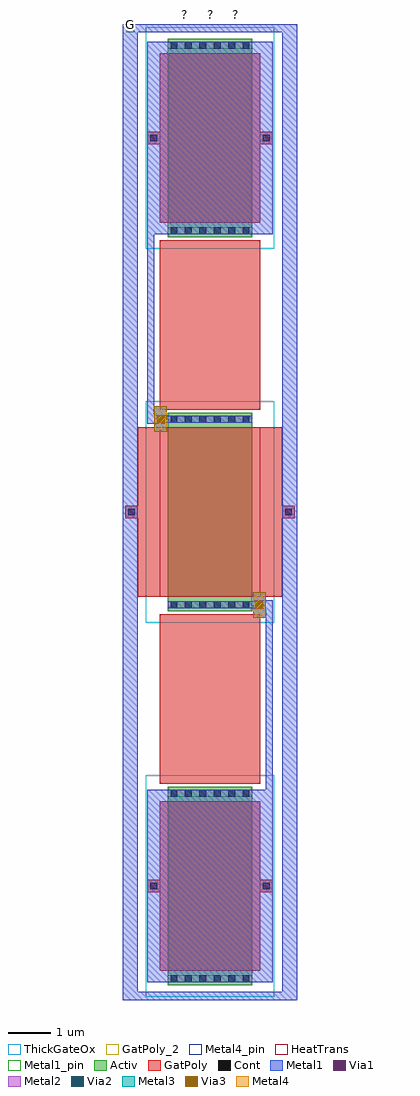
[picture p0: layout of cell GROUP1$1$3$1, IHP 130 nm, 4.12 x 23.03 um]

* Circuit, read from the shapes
.subckt GROUP1$1$3$1 G
XM1 nmosHV_priv3$1$3_1/D nmosHV_priv3$1$3_1/D nmosHV_priv3$1$3_1/D VSUBS sg13_hv_nmos w=2u l=4u
XM2 nmosHV_priv3$1$3_1/S G nmosHV_priv3$1$3_1/D VSUBS sg13_hv_nmos w=2u l=4u
XM3 nmosHV_priv3$1$3_1/S nmosHV_priv3$1$3_1/S nmosHV_priv3$1$3_1/S VSUBS sg13_hv_nmos w=2u l=4u
.ends

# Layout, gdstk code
from math import pi, radians
import gdstk
lib = gdstk.Library(unit=1e-6, precision=1e-09)
def R(c, l, rs):  # rectangles x0, y0, x1, y1
    for r in rs: c.add(gdstk.rectangle(r[:2], r[2:], *l))
def A(c, l, x, y, w, h, nx, ny, dx, dy):  # array of equal rectangles
    R(c, l, [(x+i*dx, y+j*dy, x+i*dx+w, y+j*dy+h) for i in range(nx) for j in range(ny)])
Activ = (1, 0)
GatPoly = (5, 0)
GatPoly_2 = (5, 2)
Cont = (6, 0)
Metal1 = (8, 0)
Metal1_pin = (8, 2)
Metal2 = (10, 0)
Via1 = (19, 0)
Via2 = (29, 0)
Metal3 = (30, 0)
ThickGateOx = (44, 0)
Via3 = (49, 0)
Metal4 = (50, 0)
Metal4_pin = (50, 2)
HeatTrans = (51, 0)

nmoshv_priv4_1_3 = lib.new_cell('nmosHV_priv4$1$3')
R(nmoshv_priv4_1_3, Activ, [(0,0,0.3,0.3), (0,0,4.68,2), (4.38,0,4.68,0.3)])
R(nmoshv_priv4_1_3, GatPoly, [(2.19,-0.48,2.49,-0.18), (0.34,-0.18,4.34,2.18), (2.19,2.18,2.49,2.48)])
R(nmoshv_priv4_1_3, GatPoly_2, [(0.34,-0.18,4.34,2.18)])
A(nmoshv_priv4_1_3, Cont, 0.07, 0.07, 0.16, 0.16, 1, 6, 0, 0.34)
A(nmoshv_priv4_1_3, Cont, 4.45, 0.07, 0.16, 0.16, 1, 6, 0, 0.34)
R(nmoshv_priv4_1_3, Cont, [(2.26,-0.41,2.42,-0.25), (2.26,2.25,2.42,2.41)])
R(nmoshv_priv4_1_3, Metal1, [(0.07,-0.48,4.61,2.48), (0.07,0,0.23,2), (4.45,0,4.61,2)])
R(nmoshv_priv4_1_3, Metal1_pin, [(0.07,0,0.23,2), (4.45,0,4.61,2)])
R(nmoshv_priv4_1_3, ThickGateOx, [(-0.27,-0.52,4.95,2.52)])
R(nmoshv_priv4_1_3, HeatTrans, [(0.34,-0.18,4.34,2.18)])
nmoshv_priv4_1_3.add(gdstk.Label('nmosHV', (2.34,1), layer=63, texttype=0))
nmoshv_priv4_1_3.add(gdstk.Label('nmosHV', (2.34,1), layer=51, texttype=0))

nmoshv_priv3_1_3 = lib.new_cell('nmosHV_priv3$1$3')
R(nmoshv_priv3_1_3, Activ, [(0,0,0.3,0.3), (0,0,4.68,2), (4.38,0,4.68,0.3)])
R(nmoshv_priv3_1_3, GatPoly, [(2.19,-1,2.49,-0.7), (0.34,-0.7,4.34,-0.18), (0.34,-0.18,4.34,2.18), (0.34,2.18,4.34,2.7), (2.19,2.7,2.49,3)])
R(nmoshv_priv3_1_3, GatPoly_2, [(0.34,-0.18,4.34,2.18)])
A(nmoshv_priv3_1_3, Cont, 0.07, 0.07, 0.16, 0.16, 1, 6, 0, 0.34)
A(nmoshv_priv3_1_3, Cont, 4.45, 0.07, 0.16, 0.16, 1, 6, 0, 0.34)
R(nmoshv_priv3_1_3, Cont, [(2.26,-0.93,2.42,-0.77), (2.26,2.77,2.42,2.93)])
R(nmoshv_priv3_1_3, Metal1, [(2.205,-1.06,2.475,-0.7), (0.045,-0.31,0.255,-0.02), (0.07,-0.035,0.23,0.015), (0.07,0,0.23,2), (4.45,0,4.61,2), (4.45,1.985,4.61,2.035), (4.425,2.02,4.635,2.31), (2.205,2.7,2.475,3.06)])
R(nmoshv_priv3_1_3, Metal1_pin, [(0.07,0,0.23,2), (4.45,0,4.61,2)])
R(nmoshv_priv3_1_3, Metal2, [(-0.15,-0.31,0.45,-0.02), (0.05,-0.31,0.25,-0.02), (4.23,2.02,4.83,2.31), (4.43,2.02,4.63,2.31)])
R(nmoshv_priv3_1_3, Via1, [(0.055,-0.26,0.245,-0.07), (4.435,2.07,4.625,2.26)])
R(nmoshv_priv3_1_3, Via2, [(0.055,-0.26,0.245,-0.07), (4.435,2.07,4.625,2.26)])
R(nmoshv_priv3_1_3, Metal3, [(-0.15,-0.31,0.45,-0.02), (0.05,-0.31,0.25,-0.02), (4.23,2.02,4.83,2.31), (4.43,2.02,4.63,2.31)])
R(nmoshv_priv3_1_3, ThickGateOx, [(-0.27,-0.52,4.95,2.52)])
R(nmoshv_priv3_1_3, Via3, [(0.055,-0.26,0.245,-0.07), (4.435,2.07,4.625,2.26)])
R(nmoshv_priv3_1_3, Metal4, [(-0.15,-0.31,0.45,-0.02), (0.05,-0.31,0.25,-0.02), (4.23,2.02,4.83,2.31), (4.43,2.02,4.63,2.31)])
R(nmoshv_priv3_1_3, Metal4_pin, [(0.055,-0.26,0.245,-0.07), (4.435,2.07,4.625,2.26)])
R(nmoshv_priv3_1_3, HeatTrans, [(0.34,-0.18,4.34,2.18)])
nmoshv_priv3_1_3.add(gdstk.Label('nmosHV', (2.34,1), layer=63, texttype=0))
nmoshv_priv3_1_3.add(gdstk.Label('nmosHV', (2.34,1), layer=51, texttype=0))
nmoshv_priv3_1_3.add(gdstk.Label('S', (4.53,2.165), layer=50, texttype=0))
nmoshv_priv3_1_3.add(gdstk.Label('D', (0.15,-0.165), layer=50, texttype=0))

nmoshv_priv2_1_3 = lib.new_cell('nmosHV_priv2$1$3')
R(nmoshv_priv2_1_3, Activ, [(0,0,0.3,0.3), (0,0,4.68,2), (4.38,0,4.68,0.3)])
R(nmoshv_priv2_1_3, GatPoly, [(2.19,-0.48,2.49,-0.18), (0.34,-0.18,4.34,2.18), (2.19,2.18,2.49,2.48)])
R(nmoshv_priv2_1_3, GatPoly_2, [(0.34,-0.18,4.34,2.18)])
A(nmoshv_priv2_1_3, Cont, 0.07, 0.07, 0.16, 0.16, 1, 6, 0, 0.34)
A(nmoshv_priv2_1_3, Cont, 4.45, 0.07, 0.16, 0.16, 1, 6, 0, 0.34)
R(nmoshv_priv2_1_3, Cont, [(2.26,-0.41,2.42,-0.25), (2.26,2.25,2.42,2.41)])
R(nmoshv_priv2_1_3, Metal1, [(0.07,-0.48,4.61,2.48), (0.07,0,0.23,2), (4.45,0,4.61,2)])
R(nmoshv_priv2_1_3, Metal1_pin, [(0.07,0,0.23,2), (4.45,0,4.61,2)])
R(nmoshv_priv2_1_3, ThickGateOx, [(-0.27,-0.52,4.95,2.52)])
R(nmoshv_priv2_1_3, HeatTrans, [(0.34,-0.18,4.34,2.18)])
nmoshv_priv2_1_3.add(gdstk.Label('nmosHV', (2.34,1), layer=63, texttype=0))
nmoshv_priv2_1_3.add(gdstk.Label('nmosHV', (2.34,1), layer=51, texttype=0))

group1_1_3_1 = lib.new_cell('GROUP1$1$3$1')
R(group1_1_3_1, GatPoly, [(21.38,-95.175,23.74,-91.175), (21.38,-86.35,23.74,-82.35)])
R(group1_1_3_1, Metal1, [(20.5,-100.275,20.86,-77.245), (20.5,-100.275,24.62,-100.075), (24.26,-100.275,24.62,-77.245), (23.88,-95.315,24.04,-90.845), (23.58,-91.055,23.88,-90.845), (21.08,-86.675,21.24,-82.205), (21.24,-86.675,21.54,-86.465), (20.5,-77.445,24.62,-77.245)])
R(group1_1_3_1, Metal1_pin, [(20.585,-77.445,20.775,-77.245)])
group1_1_3_1.add(gdstk.Reference(nmoshv_priv4_1_3, (23.56,-99.925), rotation=pi/2))
group1_1_3_1.add(gdstk.Reference(nmoshv_priv3_1_3, (23.56,-91.1), rotation=pi/2))
group1_1_3_1.add(gdstk.Reference(nmoshv_priv2_1_3, (23.56,-82.275), rotation=pi/2))
group1_1_3_1.add(gdstk.Label('G', (20.68,-77.245), layer=8, texttype=0))
group1_1_3_1.add(gdstk.Label('?', (21.96,-77.025), layer=1000, texttype=0))
group1_1_3_1.add(gdstk.Label('?', (22.56,-77.025), layer=1000, texttype=0))
group1_1_3_1.add(gdstk.Label('?', (23.16,-77.025), layer=1000, texttype=0))

lib.write_gds('GROUP1_1_3_1.gds')
